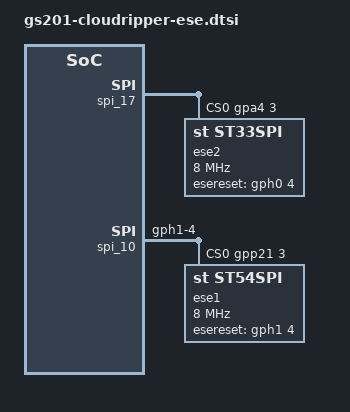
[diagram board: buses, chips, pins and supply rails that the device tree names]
// SPDX-License-Identifier: GPL-2.0
/*
 * Google GS101 Board device tree source
 *
 * Copyright (c) 2021 Google, LLC
 *		https://www.google.com
 *
*/

#include <arm64/exynos/exynos-pinctrl.h>
#include "gs101-pinctrl.h"
#include <dt-bindings/gpio/gpio.h>

&pinctrl_6 {
	ese1_spi_rst: ese1-spi-rst {
		samsung,pins ="gph1-4";
		samsung,pin-pud = <EXYNOS_PIN_PULL_NONE>;
		samsung,pin-con-pdn = <EXYNOS_PIN_PDN_PREV>;
		samsung,pin-pud-pdn = <EXYNOS_PIN_PULL_NONE>;
	};
	ese2_spi_rst: ese2-spi-rst {
		samsung,pins ="gph0-4";
		samsung,pin-pud = <EXYNOS_PIN_PULL_NONE>;
		samsung,pin-con-pdn = <EXYNOS_PIN_PDN_PREV>;
		samsung,pin-pud-pdn = <EXYNOS_PIN_PULL_NONE>;
	};
};

&spi10_bus {
	samsung,pin-con-pdn = <EXYNOS_PIN_PDN_PREV>;
	samsung,pin-pud-pdn = <EXYNOS_PIN_PULL_NONE>;
};

&spi10_cs {
	samsung,pin-con-pdn = <EXYNOS_PIN_PDN_PREV>;
	samsung,pin-pud-pdn = <EXYNOS_PIN_PULL_NONE>;
};

&spi17_bus {
	samsung,pin-con-pdn = <EXYNOS_PIN_PDN_PREV>;
	samsung,pin-pud-pdn = <EXYNOS_PIN_PULL_NONE>;
};

&pinctrl_0 {
	spi17_bus_off: spi17-bus-off {
		samsung,pins = "gpa4-0", "gpa4-1", "gpa4-2";
		samsung,pin-function = <EXYNOS_PIN_FUNC_OUTPUT>;
		samsung,pin-pud = <EXYNOS_PIN_PULL_DOWN>;
		samsung,pin-drv = <GS101_PIN_DRV_2_5_MA>;
		samsung,pin-val = <0>;
	};
	spi17_cs_on: spi17-cs-on {
		samsung,pins = "gpa4-3";
		samsung,pin-function = <EXYNOS_PIN_FUNC_OUTPUT>;
		samsung,pin-pud = <EXYNOS_PIN_PULL_NONE>;
		samsung,pin-drv = <GS101_PIN_DRV_2_5_MA>;
		samsung,pin-con-pdn = <EXYNOS_PIN_PDN_PREV>;
		samsung,pin-pud-pdn = <EXYNOS_PIN_PULL_NONE>;
		samsung,pin-val = <1>;
	};
	spi17_cs_off: spi17-cs-off {
		samsung,pins = "gpa4-3";
		samsung,pin-function = <EXYNOS_PIN_FUNC_INPUT>;
		samsung,pin-pud = <EXYNOS_PIN_PULL_DOWN>;
		samsung,pin-drv = <GS101_PIN_DRV_2_5_MA>;
		samsung,pin-val = <0>;
	};
};

&spi_17 {
	/* XAPM_USI0 */
	#address-cells = <1>;
	#size-cells = <0>;
	status = "okay";
	cs-gpios = <&gpa4 3 GPIO_ACTIVE_HIGH>;

	ese2: ese@0 {
		compatible = "st,st33spi";
		reg = <0>;
		spi-max-frequency = <8000000>;
		esereset-gpio = <&gph0 4 GPIO_ACTIVE_HIGH>;
		power_mode = "ST33";
		pinctrl-names = "default","on","off";
		pinctrl-0 = <&spi17_bus_off &spi17_cs_off &ese2_spi_rst>;
		pinctrl-1 = <&spi17_bus &spi17_cs_on &ese2_spi_rst>;
		pinctrl-2 = <&spi17_bus_off &spi17_cs_off &ese2_spi_rst>;

		controller-data {
			cs-gpio = <&gpa4 3 GPIO_ACTIVE_HIGH>;
			cs-clock-delay = <10>;
			cs-init-state = <0>;
			samsung,spi-chip-select-mode = <0>;
		};
	};
};

&spi_10 {
	#address-cells = <1>;
	#size-cells = <0>;
	status = "okay";
	pinctrl-names = "default";
	pinctrl-0 = <&spi10_bus &spi10_cs &ese1_spi_rst>;
	cs-gpios = <&gpp21 3 GPIO_ACTIVE_HIGH>;

	ese1: ese@0 {
		compatible = "st,st54spi";
		reg = <0>;
		spi-max-frequency = <8000000>;
		esereset-gpio = <&gph1 4 GPIO_ACTIVE_HIGH>;
		power_mode = "ST54J";

		controller-data {
			cs-gpio = <&gpp21 3 GPIO_ACTIVE_HIGH>;
			cs-clock-delay = <10>;
			samsung,spi-chip-select-mode = <0>;
		};
	};
};

